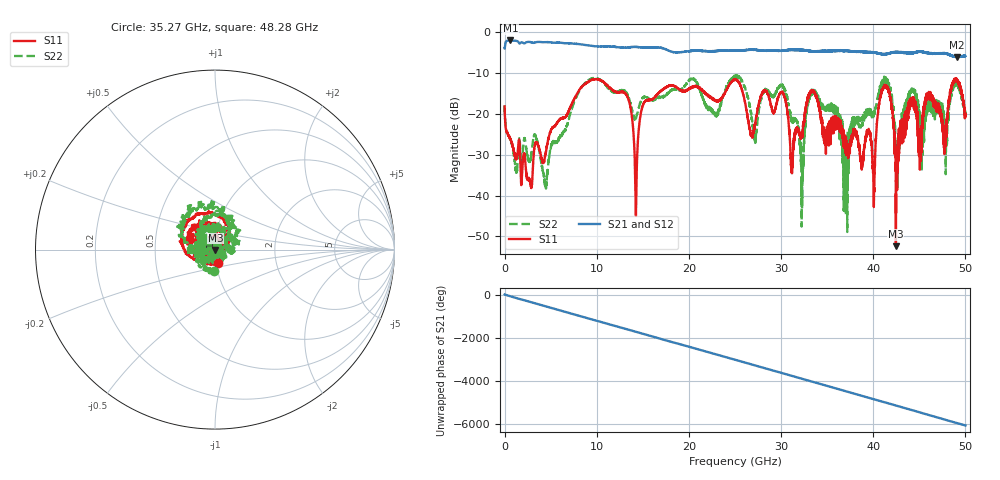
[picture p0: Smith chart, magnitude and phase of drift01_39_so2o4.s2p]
!Created with skrf (http://scikit-rf.org).
# Hz S RI R 50.0
!freq ReS11 ImS11 ReS21 ImS21 ReS12 ImS12 ReS22 ImS22
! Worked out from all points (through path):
!   10001 points, 300 kHz to 50 GHz, reference 50 ohm
!   highest |S21| = -2.00 dB at 625.3 MHz (marker M1); lowest = -6.1 dB at 49.07 GHz (marker M2)
!   group delay of S21, straight-line fit = 336 ps
!   lowest |S11| = -52.4 dB at 42.46 GHz (marker M3), VSWR 1.00, Z = 50.2 - j0.15 ohm
!   |S11| at or under -10 dB: start of sweep to end of sweep
!   |S22| runs from -49.0 to -10.6 dB; largest |S21 - S12| = 0.019
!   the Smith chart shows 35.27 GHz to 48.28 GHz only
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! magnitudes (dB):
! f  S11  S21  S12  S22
! 300 kHz  -18.2  -3.9  -4.0  -17.9
! 625.3 MHz  -26.1  -2.0  -2.0  -26.1
! 4.435 GHz  -29.9  -2.4  -2.4  -37.2
! 8.335 GHz  -13.5  -3.0  -3.0  -13.5
! 13.16 GHz  -15.2  -3.7  -3.7  -14.7
! 14.25 GHz  -45.0  -3.6  -3.6  -21.0
! 16.67 GHz  -14.9  -3.7  -3.7  -15.9
! 25 GHz  -11.6  -4.5  -4.6  -11.0
! 27.15 GHz  -22.5  -4.3  -4.3  -26.0
! 30.2 GHz  -15.0  -4.5  -4.5  -13.4
! 31.14 GHz  -33.1  -4.3  -4.3  -21.4
! 32.25 GHz  -24.8  -4.3  -4.3  -37.9
! 33.34 GHz  -14.3  -4.7  -4.6  -14.5
! 36.06 GHz  -21.4  -4.4  -4.5  -20.0
! 37.03 GHz  -26.8  -4.5  -4.6  -38.1
! 40.06 GHz  -42.2  -5.0  -5.0  -20.3
! 41.67 GHz  -14.2  -5.2  -5.2  -12.8
! 42.46 GHz  -52.4  -4.8  -4.8  -33.1
! 44.21 GHz  -16.5  -5.1  -5.1  -14.2
! 47.75 GHz  -28.7  -5.2  -5.2  -27.1
! 49.07 GHz  -11.7  -6.1  -6.0  -12.8
! 50 GHz  -20.1  -5.8  -5.8  -19.8
